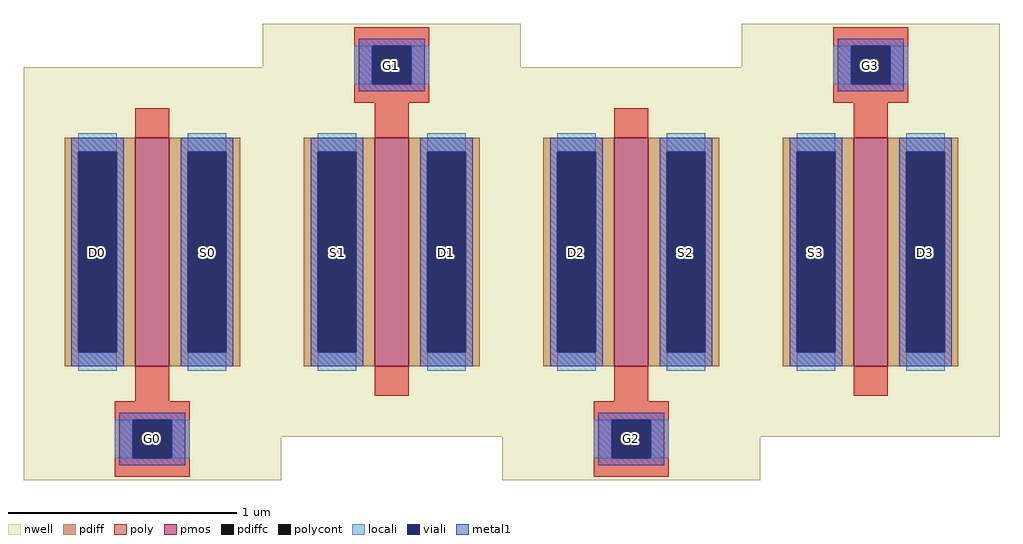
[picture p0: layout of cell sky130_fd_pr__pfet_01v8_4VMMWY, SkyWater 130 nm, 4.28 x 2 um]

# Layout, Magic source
magic
tech sky130A
magscale 1 2
<< nwell >>
rect -218 162 8 200
rect 202 162 428 200
rect -428 -162 428 162
rect -428 -200 -202 -162
rect -8 -200 218 -162
<< pmos >>
rect -330 -100 -300 100
rect -120 -100 -90 100
rect 90 -100 120 100
rect 300 -100 330 100
<< pdiff >>
rect -392 88 -330 100
rect -392 -88 -380 88
rect -346 -88 -330 88
rect -392 -100 -330 -88
rect -300 88 -238 100
rect -300 -88 -284 88
rect -250 -88 -238 88
rect -300 -100 -238 -88
rect -182 88 -120 100
rect -182 -88 -170 88
rect -136 -88 -120 88
rect -182 -100 -120 -88
rect -90 88 -28 100
rect -90 -88 -74 88
rect -40 -88 -28 88
rect -90 -100 -28 -88
rect 28 88 90 100
rect 28 -88 40 88
rect 74 -88 90 88
rect 28 -100 90 -88
rect 120 88 182 100
rect 120 -88 136 88
rect 170 -88 182 88
rect 120 -100 182 -88
rect 238 88 300 100
rect 238 -88 250 88
rect 284 -88 300 88
rect 238 -100 300 -88
rect 330 88 392 100
rect 330 -88 346 88
rect 380 -88 392 88
rect 330 -100 392 -88
<< pdiffc >>
rect -380 -88 -346 88
rect -284 -88 -250 88
rect -170 -88 -136 88
rect -74 -88 -40 88
rect 40 -88 74 88
rect 136 -88 170 88
rect 250 -88 284 88
rect 346 -88 380 88
<< poly >>
rect -138 181 -72 197
rect -138 147 -122 181
rect -88 147 -72 181
rect -138 131 -72 147
rect 282 181 348 197
rect 282 147 298 181
rect 332 147 348 181
rect 282 131 348 147
rect -330 100 -300 126
rect -120 100 -90 131
rect 90 100 120 126
rect 300 100 330 131
rect -330 -131 -300 -100
rect -120 -126 -90 -100
rect 90 -131 120 -100
rect 300 -126 330 -100
rect -348 -147 -282 -131
rect -348 -181 -332 -147
rect -298 -181 -282 -147
rect -348 -197 -282 -181
rect 72 -147 138 -131
rect 72 -181 88 -147
rect 122 -181 138 -147
rect 72 -197 138 -181
<< polycont >>
rect -122 147 -88 181
rect 298 147 332 181
rect -332 -181 -298 -147
rect 88 -181 122 -147
<< locali >>
rect -138 147 -122 181
rect -88 147 -72 181
rect 282 147 298 181
rect 332 147 348 181
rect -380 88 -346 104
rect -380 -104 -346 -88
rect -284 88 -250 104
rect -284 -104 -250 -88
rect -170 88 -136 104
rect -170 -104 -136 -88
rect -74 88 -40 104
rect -74 -104 -40 -88
rect 40 88 74 104
rect 40 -104 74 -88
rect 136 88 170 104
rect 136 -104 170 -88
rect 250 88 284 104
rect 250 -104 284 -88
rect 346 88 380 104
rect 346 -104 380 -88
rect -348 -181 -332 -147
rect -298 -181 -282 -147
rect 72 -181 88 -147
rect 122 -181 138 -147
<< viali >>
rect -122 147 -88 181
rect 298 147 332 181
rect -380 -88 -346 88
rect -284 -88 -250 88
rect -170 -88 -136 88
rect -74 -88 -40 88
rect 40 -88 74 88
rect 136 -88 170 88
rect 250 -88 284 88
rect 346 -88 380 88
rect -332 -181 -298 -147
rect 88 -181 122 -147
<< metal1 >>
rect -134 181 -76 187
rect -134 147 -122 181
rect -88 147 -76 181
rect -134 141 -76 147
rect 286 181 344 187
rect 286 147 298 181
rect 332 147 344 181
rect 286 141 344 147
rect -386 88 -340 100
rect -386 -88 -380 88
rect -346 -88 -340 88
rect -386 -100 -340 -88
rect -290 88 -244 100
rect -290 -88 -284 88
rect -250 -88 -244 88
rect -290 -100 -244 -88
rect -176 88 -130 100
rect -176 -88 -170 88
rect -136 -88 -130 88
rect -176 -100 -130 -88
rect -80 88 -34 100
rect -80 -88 -74 88
rect -40 -88 -34 88
rect -80 -100 -34 -88
rect 34 88 80 100
rect 34 -88 40 88
rect 74 -88 80 88
rect 34 -100 80 -88
rect 130 88 176 100
rect 130 -88 136 88
rect 170 -88 176 88
rect 130 -100 176 -88
rect 244 88 290 100
rect 244 -88 250 88
rect 284 -88 290 88
rect 244 -100 290 -88
rect 340 88 386 100
rect 340 -88 346 88
rect 380 -88 386 88
rect 340 -100 386 -88
rect -344 -147 -286 -141
rect -344 -181 -332 -147
rect -298 -181 -286 -147
rect -344 -187 -286 -181
rect 76 -147 134 -141
rect 76 -181 88 -147
rect 122 -181 134 -147
rect 76 -187 134 -181
<< labels >>
rlabel pdiffc -363 0 -363 0 0 D0
port 1 nsew
rlabel pdiffc -267 0 -267 0 0 S0
port 2 nsew
rlabel polycont -315 -164 -315 -164 0 G0
port 3 nsew
rlabel pdiffc -57 0 -57 0 0 D1
port 4 nsew
rlabel pdiffc -153 0 -153 0 0 S1
port 5 nsew
rlabel polycont -105 164 -105 164 0 G1
port 6 nsew
rlabel pdiffc 57 0 57 0 0 D2
port 7 nsew
rlabel pdiffc 153 0 153 0 0 S2
port 8 nsew
rlabel polycont 105 -164 105 -164 0 G2
port 9 nsew
rlabel pdiffc 363 0 363 0 0 D3
port 10 nsew
rlabel pdiffc 267 0 267 0 0 S3
port 11 nsew
rlabel polycont 315 164 315 164 0 G3
port 12 nsew
<< properties >>
string gencell sky130_fd_pr__pfet_01v8
string library sky130
string parameters w 1 l 0.15 m 1 nf 4 diffcov 100 polycov 100 guard 0 glc 1 grc 1 gtc 1 gbc 1 tbcov 100 rlcov 100 topc 1 botc 1 poverlap 0 doverlap 0 lmin 0.15 wmin 0.42 class mosfet compatible {sky130_fd_pr__pfet_01v8  sky130_fd_pr__pfet_01v8_lvt sky130_fd_pr__pfet_01v8_hvt  sky130_fd_pr__pfet_g5v0d10v5} full_metal 1 conn_gates 0 viasrc 100 viadrn 100 viagate 100 viagb 0 viagr 0 viagl 0 viagt 0 doports 1
<< end >>
